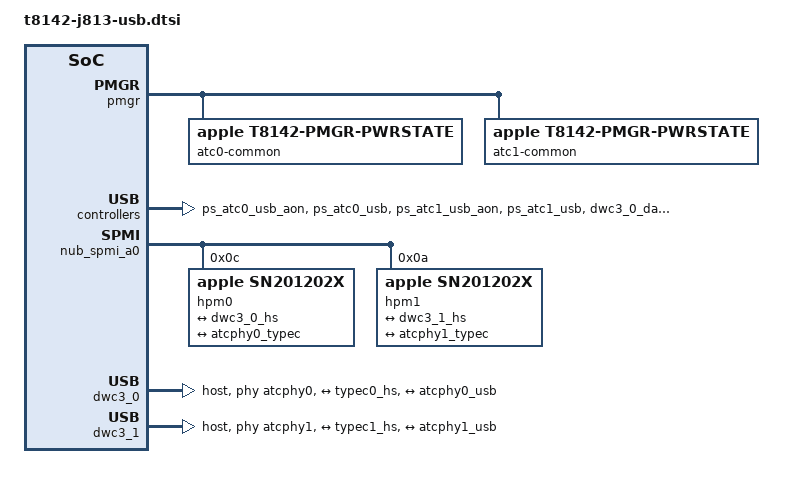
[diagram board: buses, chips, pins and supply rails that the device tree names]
// SPDX-License-Identifier: GPL-2.0+ OR MIT
#include <dt-bindings/phy/phy.h>
#include <dt-bindings/spmi/spmi.h>

/ {
	aliases {
		atcphy0 = &atcphy0;
		usb0 = &dwc3_0;
		atcphy1 = &atcphy1;
		usb1 = &dwc3_1;
	};
};

&pmgr {
	ps_atc0_common: power-controller@2c8 {
		compatible = "apple,t8142-pmgr-pwrstate", "apple,t8103-pmgr-pwrstate";
		reg = <0x2c8 4>;
		#power-domain-cells = <0>;
		#reset-cells = <0>;
		label = "atc0-common";
	};
};

&{/soc} {
	pmgr_nub: power-management@388280000 {
		compatible = "apple,t8142-pmgr", "apple,t8103-pmgr", "syscon", "simple-mfd";
		reg = <3 0x88280000 0 0x4000>;
		#address-cells = <1>;
		#size-cells = <1>;

		ps_nub_spmi_a0: power-controller@70 {
			compatible = "apple,t8142-pmgr-pwrstate", "apple,t8103-pmgr-pwrstate";
			reg = <0x70 4>;
			#power-domain-cells = <0>;
			#reset-cells = <0>;
			label = "nub-spmi-a0";
		};

		ps_atc0_usb_aon: power-controller@c8 {
			compatible = "apple,t8142-pmgr-pwrstate", "apple,t8103-pmgr-pwrstate";
			reg = <0xc8 4>;
			#power-domain-cells = <0>;
			#reset-cells = <0>;
			label = "atc0-usb-aon";
		};

		ps_atc0_usb: power-controller@d0 {
			compatible = "apple,t8142-pmgr-pwrstate", "apple,t8103-pmgr-pwrstate";
			reg = <0xd0 4>;
			#power-domain-cells = <0>;
			#reset-cells = <0>;
			power-domains = <&ps_atc0_common>, <&ps_atc0_usb_aon>;
			label = "atc0-usb";
		};
	};

	nub_spmi_a0: spmi@388908000 {
		compatible = "apple,t8142-spmi";
		reg = <3 0x88908000 0 0x4000>;
		#address-cells = <2>;
		#size-cells = <0>;
		power-domains = <&ps_nub_spmi_a0>;

		hpm0: usb-pd@c {
			compatible = "apple,sn201202x";
			reg = <0xc SPMI_USID>;

			typec0: connector {
				compatible = "usb-c-connector";
				label = "USB-C Left-front";
				power-role = "dual";
				data-role = "host";

				ports {
					#address-cells = <1>;
					#size-cells = <0>;

					port@0 {
						reg = <0>;
						typec0_hs: endpoint {
							remote-endpoint = <&dwc3_0_hs>;
						};
					};

					port@1 {
						reg = <1>;
						typec0_ss: endpoint {
							remote-endpoint = <&atcphy0_typec>;
						};
					};
				};
			};
		};
	};

	dwc3_0: usb@402280000 {
		compatible = "apple,t8142-dwc3", "apple,t8103-dwc3";
		reg = <4 0x02280000 0 0xcd00>, <4 0x0228cd00 0 0x4b00>;
		reg-names = "dwc3-core", "dwc3-apple";
		interrupts = <AIC_IRQ 1511 IRQ_TYPE_LEVEL_HIGH>;
		dr_mode = "host";
		usb-role-switch;
		role-switch-default-mode = "host";
		iommus = <&dwc3_0_dart_0 0>, <&dwc3_0_dart_1 1>;
		power-domains = <&ps_atc0_usb>;
		resets = <&atcphy0>;
		phys = <&atcphy0 PHY_TYPE_USB2>, <&atcphy0 PHY_TYPE_USB3>;
		phy-names = "usb2-phy", "usb3-phy";

		ports {
			#address-cells = <1>;
			#size-cells = <0>;
			port@0 {
				reg = <0>;
				dwc3_0_hs: endpoint {
					remote-endpoint = <&typec0_hs>;
				};
			};
			port@1 {
				reg = <1>;
				dwc3_0_ss: endpoint {
					remote-endpoint = <&atcphy0_usb>;
				};
			};
		};
	};

	dwc3_0_dart_0: iommu@402f00000 {
		compatible = "apple,t8142-dart", "apple,t8110-dart";
		reg = <4 0x02f00000 0 0xc000>;
		interrupts = <AIC_IRQ 1515 IRQ_TYPE_LEVEL_HIGH>;
		power-domains = <&ps_atc0_usb>;
		#iommu-cells = <1>;
		apple,dma-range = <0x100 0x4000 0 0xffff0000>;
	};

	dwc3_0_dart_1: iommu@402f80000 {
		compatible = "apple,t8142-dart", "apple,t8110-dart";
		reg = <4 0x02f80000 0 0xc000>;
		interrupts = <AIC_IRQ 1515 IRQ_TYPE_LEVEL_HIGH>;
		power-domains = <&ps_atc0_usb>;
		#iommu-cells = <1>;
		apple,dma-range = <0x100 0x4000 0 0xffff0000>;
	};

	atcphy0: phy@403000000 {
		compatible = "apple,t8142-atcphy";
		reg = <4 0x03000000 0 0x4c000>,
		      <4 0x03050000 0 0x8000>,
		      <4 0x00000000 0 0x8000>,
		      <4 0x02a90000 0 0x4000>,
		      <4 0x02a84000 0 0x4000>;
		reg-names = "core", "lpdptx", "axi2af", "usb2phy", "pipehandler";
		#phy-cells = <1>;
		#reset-cells = <0>;
		orientation-switch;
		mode-switch;
		power-domains = <&ps_atc0_usb>;

		ports {
			#address-cells = <1>;
			#size-cells = <0>;
			port@0 {
				reg = <0>;
				atcphy0_typec: endpoint {
					remote-endpoint = <&typec0_ss>;
				};
			};
			port@1 {
				reg = <1>;
				atcphy0_usb: endpoint {
					remote-endpoint = <&dwc3_0_ss>;
				};
			};
		};
	};
};

&pmgr {
	ps_atc1_common: power-controller@2d0 {
		compatible = "apple,t8142-pmgr-pwrstate", "apple,t8103-pmgr-pwrstate";
		reg = <0x2d0 4>;
		#power-domain-cells = <0>;
		#reset-cells = <0>;
		label = "atc1-common";
	};
};

&pmgr_nub {
	ps_atc1_usb_aon: power-controller@d8 {
		compatible = "apple,t8142-pmgr-pwrstate", "apple,t8103-pmgr-pwrstate";
		reg = <0xd8 4>;
		#power-domain-cells = <0>;
		#reset-cells = <0>;
		label = "atc1-usb-aon";
	};

	ps_atc1_usb: power-controller@e0 {
		compatible = "apple,t8142-pmgr-pwrstate", "apple,t8103-pmgr-pwrstate";
		reg = <0xe0 4>;
		#power-domain-cells = <0>;
		#reset-cells = <0>;
		power-domains = <&ps_atc1_common>, <&ps_atc1_usb_aon>;
		label = "atc1-usb";
	};
};

&nub_spmi_a0 {
	hpm1: usb-pd@a {
		compatible = "apple,sn201202x";
		reg = <0xa SPMI_USID>;

		typec1: connector {
			compatible = "usb-c-connector";
			label = "USB-C Left-rear";
			power-role = "dual";
			data-role = "host";

			ports {
				#address-cells = <1>;
				#size-cells = <0>;

				port@0 {
					reg = <0>;
					typec1_hs: endpoint {
						remote-endpoint = <&dwc3_1_hs>;
					};
				};

				port@1 {
					reg = <1>;
					typec1_ss: endpoint {
						remote-endpoint = <&atcphy1_typec>;
					};
				};
			};
		};
	};
};

&{/soc} {
	dwc3_1: usb@40a280000 {
		compatible = "apple,t8142-dwc3", "apple,t8103-dwc3";
		reg = <4 0x0a280000 0 0xcd00>, <4 0x0a28cd00 0 0x4b00>;
		reg-names = "dwc3-core", "dwc3-apple";
		interrupts = <AIC_IRQ 1574 IRQ_TYPE_LEVEL_HIGH>;
		dr_mode = "host";
		usb-role-switch;
		role-switch-default-mode = "host";
		iommus = <&dwc3_1_dart_0 0>, <&dwc3_1_dart_1 1>;
		power-domains = <&ps_atc1_usb>;
		resets = <&atcphy1>;
		phys = <&atcphy1 PHY_TYPE_USB2>, <&atcphy1 PHY_TYPE_USB3>;
		phy-names = "usb2-phy", "usb3-phy";

		ports {
			#address-cells = <1>;
			#size-cells = <0>;
			port@0 {
				reg = <0>;
				dwc3_1_hs: endpoint {
					remote-endpoint = <&typec1_hs>;
				};
			};
			port@1 {
				reg = <1>;
				dwc3_1_ss: endpoint {
					remote-endpoint = <&atcphy1_usb>;
				};
			};
		};
	};

	dwc3_1_dart_0: iommu@40af00000 {
		compatible = "apple,t8142-dart", "apple,t8110-dart";
		reg = <4 0x0af00000 0 0xc000>;
		interrupts = <AIC_IRQ 1578 IRQ_TYPE_LEVEL_HIGH>;
		power-domains = <&ps_atc1_usb>;
		#iommu-cells = <1>;
		apple,dma-range = <0x100 0x4000 0 0xffff0000>;
	};

	dwc3_1_dart_1: iommu@40af80000 {
		compatible = "apple,t8142-dart", "apple,t8110-dart";
		reg = <4 0x0af80000 0 0xc000>;
		interrupts = <AIC_IRQ 1578 IRQ_TYPE_LEVEL_HIGH>;
		power-domains = <&ps_atc1_usb>;
		#iommu-cells = <1>;
		apple,dma-range = <0x100 0x4000 0 0xffff0000>;
	};

	atcphy1: phy@40b000000 {
		compatible = "apple,t8142-atcphy";
		reg = <4 0x0b000000 0 0x4c000>,
		      <4 0x0b050000 0 0x8000>,
		      <4 0x08000000 0 0x8000>,
		      <4 0x0aa90000 0 0x4000>,
		      <4 0x0aa84000 0 0x4000>;
		reg-names = "core", "lpdptx", "axi2af", "usb2phy", "pipehandler";
		#phy-cells = <1>;
		#reset-cells = <0>;
		orientation-switch;
		mode-switch;
		power-domains = <&ps_atc1_usb>;

		ports {
			#address-cells = <1>;
			#size-cells = <0>;
			port@0 {
				reg = <0>;
				atcphy1_typec: endpoint {
					remote-endpoint = <&typec1_ss>;
				};
			};
			port@1 {
				reg = <1>;
				atcphy1_usb: endpoint {
					remote-endpoint = <&dwc3_1_ss>;
				};
			};
		};
	};
};
